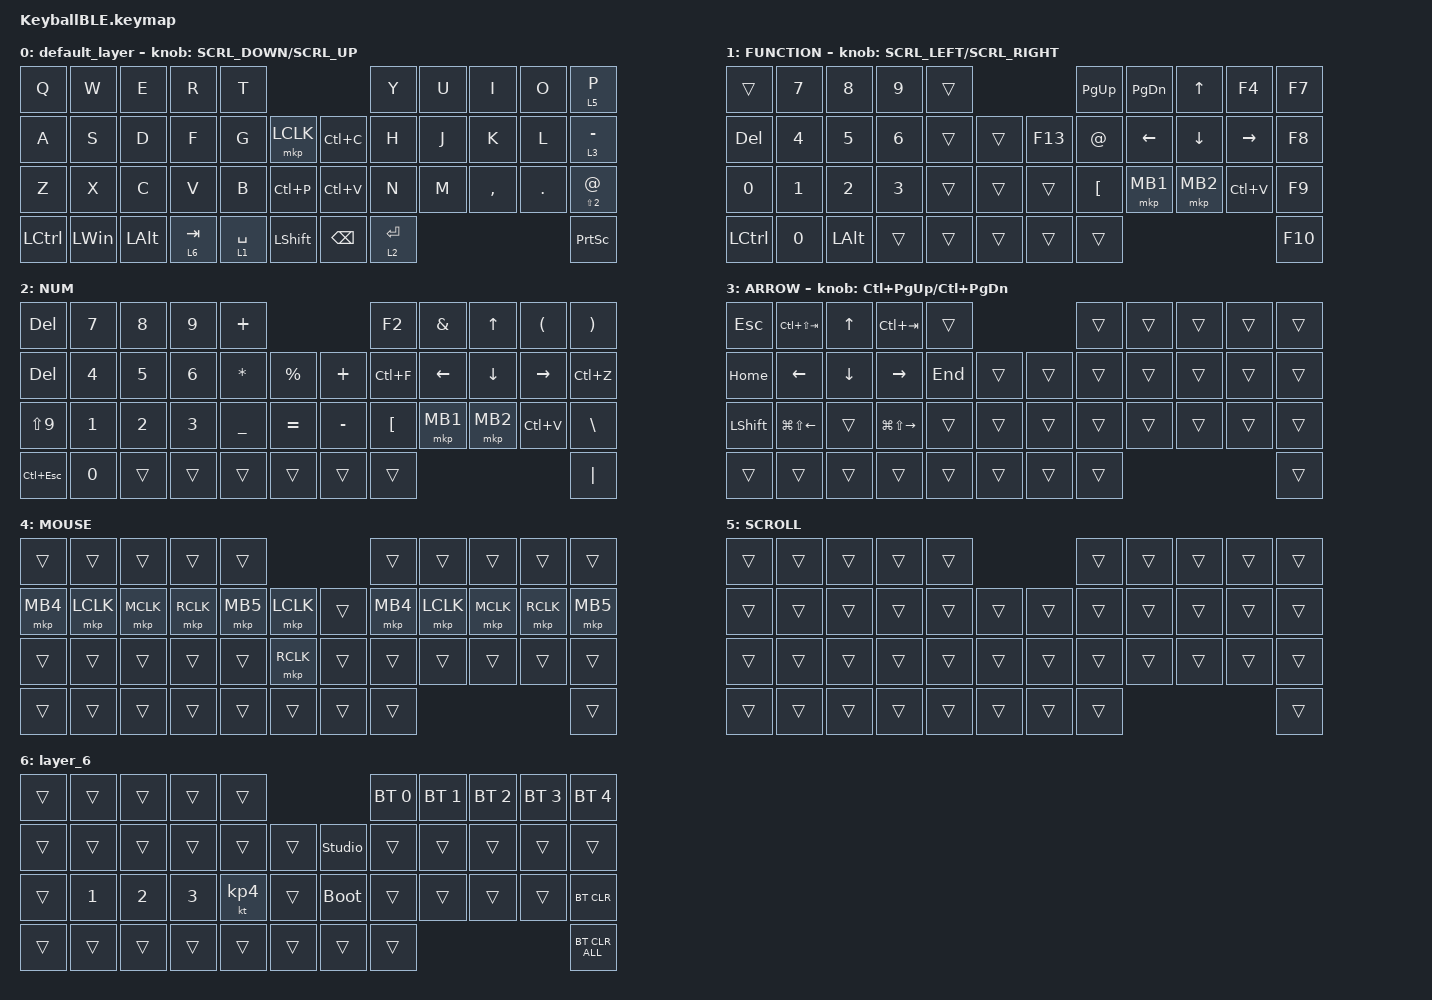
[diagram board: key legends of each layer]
#define ZMK_POINTING_DEFAULT_SCRL_VAL 120    // default: 10

#include <behaviors.dtsi>
#include <dt-bindings/zmk/bt.h>
#include <dt-bindings/zmk/keys.h>
#include <dt-bindings/zmk/pointing.h>

#define MOUSE 4
#define SCROLL 5
#define NUM 6

&mt {
    flavor = "balanced";
    quick-tap-ms = <0>;
};

/ {
    combos {
        compatible = "zmk,combos";

        double_quotation {
            bindings = <&kp DOUBLE_QUOTES>;
            key-positions = <20 21>;
        };
    };

    macros {
        to_layer_0: to_layer_0 {
            compatible = "zmk,behavior-macro-one-param";
            #binding-cells = <1>;
            bindings = <&to 0 &macro_param_1to1 &kp MACRO_PLACEHOLDER>;
            label = "TO_LAYER_0";
        };
    };

    behaviors {
        lt_to_layer_0: lt_to_layer_0 {
            compatible = "zmk,behavior-hold-tap";
            label = "LAYER_TAP_TO_0";
            bindings = <&mo>, <&to_layer_0>;

            #binding-cells = <2>;
            tapping-term-ms = <200>;
        };

        ROTATE: ROTATE {
            compatible = "zmk,behavior-sensor-rotate-var";
            label = "ROTATE";
            #sensor-binding-cells = <2>;
            bindings = <&msc>, <&msc>;

            tap-ms = <20>;
        };
    };

    keymap {
        compatible = "zmk,keymap";

        default_layer {
            bindings = <
&kp Q      &kp W         &kp E         &kp R      &kp T                                      &kp Y        &kp U  &kp I      &kp O    &lt 5 P
&kp A      &kp S         &kp D         &kp F      &kp G        &mkp LCLK      &kp LC(C)      &kp H        &kp J  &kp K      &kp L    &lt 3 MINUS
&kp Z      &kp X         &kp C         &kp V      &kp B        &kp LC(P)      &kp LC(V)      &kp N        &kp M  &kp COMMA  &kp DOT  &mt LS(NUMBER_2) AT_SIGN
&kp LCTRL  &kp LEFT_WIN  &kp LEFT_ALT  &lt 6 TAB  &lt 1 SPACE  &kp LSHFT      &kp BACKSPACE  &lt 2 ENTER                             &kp PRINTSCREEN
            >;

            sensor-bindings = <&ROTATE SCRL_DOWN SCRL_UP>;
        };

        FUNCTION {
            bindings = <
&trans     &kp N7        &kp N8    &kp N9  &trans                       &kp PAGE_UP       &kp PAGE_DOWN  &kp UP_ARROW    &kp F4           &kp F7
&kp DEL    &kp N4        &kp N5    &kp N6  &trans  &trans      &kp F13  &kp AT            &kp LEFT       &kp DOWN_ARROW  &kp RIGHT_ARROW  &kp F8
&kp N0     &kp NUMBER_1  &kp N2    &kp N3  &trans  &trans      &trans   &kp LEFT_BRACKET  &mkp MB1       &mkp MB2        &kp LC(V)        &kp F9
&kp LCTRL  &kp NUMBER_0  &kp LALT  &trans  &trans  &trans      &trans   &trans                                                            &kp F10
            >;

            sensor-bindings = <&ROTATE SCRL_LEFT SCRL_RIGHT>;
        };

        NUM {
            bindings = <
&kp DELETE        &kp NUMBER_7  &kp NUMBER_8  &kp NUMBER_9  &kp PLUS                                  &kp F2            &kp AMPERSAND   &kp UP_ARROW    &kp LEFT_PARENTHESIS  &kp RIGHT_PARENTHESIS
&kp DEL           &kp NUMBER_4  &kp NUMBER_5  &kp NUMBER_6  &kp ASTERISK  &kp PERCENT      &kp PLUS   &kp LC(F)         &kp LEFT_ARROW  &kp DOWN_ARROW  &kp RIGHT_ARROW       &kp LC(Z)
&kp LS(NUMBER_9)  &kp NUMBER_1  &kp NUMBER_2  &kp NUMBER_3  &kp UNDER     &kp EQUAL        &kp MINUS  &kp LEFT_BRACKET  &mkp MB1        &mkp MB2        &kp LC(V)             &kp BACKSLASH
&kp LC(ESC)       &kp NUMBER_0  &trans        &trans        &trans        &trans           &trans     &trans                                                                  &kp PIPE
            >;
        };

        ARROW {
            bindings = <
&kp ESCAPE      &kp LC(LS(TAB))         &kp UP_ARROW    &kp LC(TAB)              &trans                       &trans  &trans  &trans  &trans  &trans
&kp HOME        &kp LEFT_ARROW          &kp DOWN_ARROW  &kp RIGHT_ARROW          &kp END  &trans      &trans  &trans  &trans  &trans  &trans  &trans
&kp LEFT_SHIFT  &kp LG(LS(LEFT_ARROW))  &trans          &kp LG(LS(RIGHT_ARROW))  &trans   &trans      &trans  &trans  &trans  &trans  &trans  &trans
&trans          &trans                  &trans          &trans                   &trans   &trans      &trans  &trans                          &trans
            >;

            sensor-bindings = <&inc_dec_kp LC(PAGE_UP) LC(PAGE_DOWN)>;
        };

        MOUSE {
            bindings = <
&trans    &trans     &trans     &trans     &trans                           &trans    &trans     &trans     &trans     &trans
&mkp MB4  &mkp LCLK  &mkp MCLK  &mkp RCLK  &mkp MB5  &mkp LCLK      &trans  &mkp MB4  &mkp LCLK  &mkp MCLK  &mkp RCLK  &mkp MB5
&trans    &trans     &trans     &trans     &trans    &mkp RCLK      &trans  &trans    &trans     &trans     &trans     &trans
&trans    &trans     &trans     &trans     &trans    &trans         &trans  &trans                                     &trans
            >;
        };

        SCROLL {
            bindings = <
&trans  &trans  &trans  &trans  &trans                      &trans  &trans  &trans  &trans  &trans
&trans  &trans  &trans  &trans  &trans  &trans      &trans  &trans  &trans  &trans  &trans  &trans
&trans  &trans  &trans  &trans  &trans  &trans      &trans  &trans  &trans  &trans  &trans  &trans
&trans  &trans  &trans  &trans  &trans  &trans      &trans  &trans                          &trans
            >;
        };

        layer_6 {
            bindings = <
&trans  &trans        &trans        &trans        &trans                                 &bt BT_SEL 0  &bt BT_SEL 1  &bt BT_SEL 2  &bt BT_SEL 3  &bt BT_SEL 4
&trans  &trans        &trans        &trans        &trans     &trans      &studio_unlock  &trans        &trans        &trans        &trans        &trans
&trans  &kp NUMBER_1  &kp NUMBER_2  &kp NUMBER_3  &kt KP_N4  &trans      &bootloader     &trans        &trans        &trans        &trans        &bt BT_CLR
&trans  &trans        &trans        &trans        &trans     &trans      &trans          &trans                                                  &bt BT_CLR_ALL
            >;
        };
    };
};
